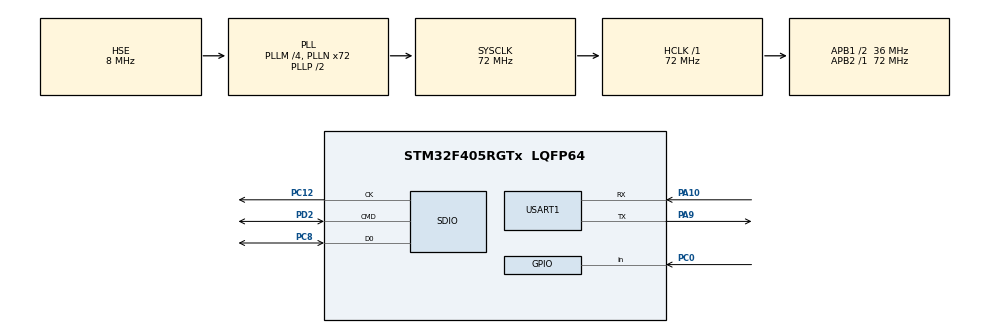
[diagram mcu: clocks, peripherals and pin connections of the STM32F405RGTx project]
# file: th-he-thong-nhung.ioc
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FATFS.BSP.number=1
FATFS0.BSP.STBoard=false
FATFS0.BSP.api=Unknown
FATFS0.BSP.instance=PC0
FATFS0.BSP.ip=GPIO
FATFS0.BSP.mode=Input
FATFS0.BSP.name=Detect_SDIO
FATFS0.BSP.solution=PC0
Mcu.Family=STM32F4
Mcu.Name=STM32F405RGTx
Mcu.Package=LQFP64
NVIC.PriorityGroup=NVIC_PRIORITYGROUP_4
NVIC.SDIO_IRQn=true\:0\:0\:false\:false\:true\:true\:true\:true
PA10.Mode=Asynchronous
PA10.Signal=USART1_RX
PA13.Mode=Serial_Wire
PA13.Signal=SYS_JTMS-SWDIO
PA14.Mode=Serial_Wire
PA14.Signal=SYS_JTCK-SWCLK
PA9.Mode=Asynchronous
PA9.Signal=USART1_TX
PC0.Signal=GPIO_Input
PC12.Mode=SD_1_bit
PC12.Signal=SDIO_CK
PC8.Mode=SD_1_bit
PC8.Signal=SDIO_D0
PD2.Mode=SD_1_bit
PD2.Signal=SDIO_CMD
PH0-OSC_IN.Mode=HSE-External-Oscillator
PH0-OSC_IN.Signal=RCC_OSC_IN
PH1-OSC_OUT.Mode=HSE-External-Oscillator
PH1-OSC_OUT.Signal=RCC_OSC_OUT
ProjectManager.HeapSize=0x200
ProjectManager.StackSize=0x400
ProjectManager.TargetToolchain=STM32CubeIDE
RCC.48MHZClocksFreq_Value=12000000
RCC.AHBFreq_Value=72000000
RCC.APB1CLKDivider=RCC_HCLK_DIV2
RCC.APB1Freq_Value=36000000
RCC.APB1TimFreq_Value=72000000
RCC.APB2Freq_Value=72000000
RCC.APB2TimFreq_Value=72000000
RCC.CortexFreq_Value=72000000
RCC.HCLKFreq_Value=72000000
RCC.HSE_VALUE=8000000
RCC.HSI_VALUE=16000000
RCC.LSE_VALUE=32768
RCC.PLLM=4
RCC.PLLN=72
RCC.PLLQ=12
RCC.PLLSourceVirtual=RCC_PLLSOURCE_HSE
RCC.SYSCLKFreq_VALUE=72000000
RCC.SYSCLKSource=RCC_SYSCLKSOURCE_PLLCLK
RCC.VCOOutputFreq_Value=144000000
USART1.VirtualMode=VM_ASYNC
VP_FATFS_VS_SDIO.Mode=SDIO
board=custom

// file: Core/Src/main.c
/* USER CODE BEGIN Header */
/**
 ******************************************************************************
 * @file           : main.c
 * @brief          : Main program body
 ******************************************************************************
 * @attention
 *
 * Copyright (c) 2023 STMicroelectronics.
 * All rights reserved.
 *
 * This software is licensed under terms that can be found in the LICENSE file
 * in the root directory of this software component.
 * If no LICENSE file comes with this software, it is provided AS-IS.
 *
 ******************************************************************************
 */
/* USER CODE END Header */
#include "main.h"
#include "fatfs.h"
#include "stdio.h"
#include "stdbool.h"
#include "stdint.h"
#include <stdarg.h>     /* va_list, va_start, va_arg, va_end */

/* USER CODE BEGIN PD */
#define BUFF_SIZE_MAX (200)
#define UART_DELAY (100)

/* USER CODE END PD */

SD_HandleTypeDef hsd;

UART_HandleTypeDef huart1;

void SystemClock_Config(void);
static void MX_GPIO_Init(void);
static void MX_SDIO_SD_Init(void);
static void MX_USART1_UART_Init(void);
static void uart_write(const char *format, ...);

/* USER CODE BEGIN 0 */
static void uart_write(const char *format, ...)
{
  uint8_t tx_buffer[BUFF_SIZE_MAX] = {0};
  // Data
  va_list args;
  va_start(args, format);
  uint16_t len = vsnprintf((char *)tx_buffer, BUFF_SIZE_MAX, format, args);
  va_end(args);

  HAL_UART_Transmit(&huart1, tx_buffer, len, UART_DELAY);
}

static void process_sd_card(void)
{
  FATFS FatFs;      // Fatfs handle
  FIL fil;          // File handle
  FRESULT f_result; // Result after operations
  char buf[300];
  do
  {
    if (BSP_SD_Init() != MSD_OK)
    {
      uart_write("\nInit SD card fail\r\n");
      break;
    }

    // Mount the SD Card
    f_result = f_mount(&FatFs, "", 1); // 1=mount now
    if (f_result != FR_OK)
    {
      uart_write("\nNo SD Card found : (%i)\r\n", f_result);
      break;
    }

    uart_write("\nSD Card Mounted Successfully!\r\n");
    HAL_Delay(2000);

    // Read the SD Card Total size and Free Size
    FATFS *pfs;
    DWORD fre_clust;
    uint32_t totalSpace, freeSpace;
    f_getfree("", &fre_clust, &pfs);

    totalSpace = (uint32_t)((pfs->n_fatent - 2) * pfs->csize * 0.5);
    freeSpace = (uint32_t)(fre_clust * pfs->csize * 0.5);

    uart_write("\nTotalSpace : %lu bytes, FreeSpace = %lu bytes\r\n", totalSpace, freeSpace);
    HAL_Delay(2000);

    uart_write("\nOpen file file_htn.txt to write, if it hasn't been created, then create it!\r\n");
    HAL_Delay(2000);

    // Open the file
    f_result = f_open(&fil, "file_htn.txt", FA_CREATE_ALWAYS|FA_WRITE);
    if (f_result != FR_OK)
    {
      uart_write("\nFile creation/open Error : (%i)\r\n", f_result);
      break;
    }

    uart_write("\nWriting data to sd card!\r\n");
    HAL_Delay(2000);

    // write the data
    f_puts("Xin chao, chung minh la sinh vien truong KHTN, khoa Dien tu - Vien thong\n", &fil);
    HAL_Delay(2000);

    // close your file
    f_close(&fil);

    // Open the file
    uart_write("\nOpen file file_htn.txt to read!\r\n");
    HAL_Delay(2000);

    f_result = f_open(&fil, "file_htn.txt", FA_READ);

    if (f_result != FR_OK)
    {
      uart_write("\nFile opening Error : (%i)\r\n", f_result);
      break;
    }

    // read the data
    f_gets(buf, sizeof(buf), &fil);
    uart_write("\nRead Data form sd card : %s\r\n", buf);
    HAL_Delay(2000);
    // close your file
    f_close(&fil);
    uart_write("\nClosing File!\r\n");
#if 0
    //Delete the file.
    f_result = f_unlink(file_he_thong_nhung.txt);
    if (f_result != FR_OK)
    {
      uart_write("\nCannot able to delete the file\n");
    }
#endif
  } while (false);
  // We're done, so de-mount the drive
  f_mount(NULL, "", 0);
  uart_write("\nSD Card Unmounted Successfully!\r\n");
}

/* USER CODE END 0 */

int main(void)
{

  /* MCU Configuration--------------------------------------------------------*/

  /* Reset of all peripherals, Initializes the Flash interface and the Systick. */
  HAL_Init();

  /* Configure the system clock */
  SystemClock_Config();

  /* Initialize all configured peripherals */
  MX_GPIO_Init();
  MX_SDIO_SD_Init();
  MX_FATFS_Init();
  MX_USART1_UART_Init();
  /* USER CODE BEGIN 2 */
  process_sd_card();
  /* USER CODE END 2 */

  /* Infinite loop */
  while (1)
  {

  }
}

void SystemClock_Config(void)
{
  RCC_OscInitTypeDef RCC_OscInitStruct = {0};
  RCC_ClkInitTypeDef RCC_ClkInitStruct = {0};

  /** Configure the main internal regulator output voltage
   */
  __HAL_RCC_PWR_CLK_ENABLE();
  __HAL_PWR_VOLTAGESCALING_CONFIG(PWR_REGULATOR_VOLTAGE_SCALE1);

  /** Initializes the RCC Oscillators according to the specified parameters
   * in the RCC_OscInitTypeDef structure.
   */
  RCC_OscInitStruct.OscillatorType = RCC_OSCILLATORTYPE_HSE;
  RCC_OscInitStruct.HSEState = RCC_HSE_ON;
  RCC_OscInitStruct.PLL.PLLState = RCC_PLL_ON;
  RCC_OscInitStruct.PLL.PLLSource = RCC_PLLSOURCE_HSE;
  RCC_OscInitStruct.PLL.PLLM = 4;
  RCC_OscInitStruct.PLL.PLLN = 72;
  RCC_OscInitStruct.PLL.PLLP = RCC_PLLP_DIV2;
  RCC_OscInitStruct.PLL.PLLQ = 12;
  if (HAL_RCC_OscConfig(&RCC_OscInitStruct) != HAL_OK)
  {
    Error_Handler();
  }

  /** Initializes the CPU, AHB and APB buses clocks
   */
  RCC_ClkInitStruct.ClockType = RCC_CLOCKTYPE_HCLK | RCC_CLOCKTYPE_SYSCLK | RCC_CLOCKTYPE_PCLK1 | RCC_CLOCKTYPE_PCLK2;
  RCC_ClkInitStruct.SYSCLKSource = RCC_SYSCLKSOURCE_PLLCLK;
  RCC_ClkInitStruct.AHBCLKDivider = RCC_SYSCLK_DIV1;
  RCC_ClkInitStruct.APB1CLKDivider = RCC_HCLK_DIV2;
  RCC_ClkInitStruct.APB2CLKDivider = RCC_HCLK_DIV1;

  if (HAL_RCC_ClockConfig(&RCC_ClkInitStruct, FLASH_LATENCY_2) != HAL_OK)
  {
    Error_Handler();
  }
}

static void MX_SDIO_SD_Init(void)
{

  hsd.Instance = SDIO;
  hsd.Init.ClockEdge = SDIO_CLOCK_EDGE_RISING;
  hsd.Init.ClockBypass = SDIO_CLOCK_BYPASS_DISABLE;
  hsd.Init.ClockPowerSave = SDIO_CLOCK_POWER_SAVE_DISABLE;
  hsd.Init.BusWide = SDIO_BUS_WIDE_1B;
  hsd.Init.HardwareFlowControl = SDIO_HARDWARE_FLOW_CONTROL_DISABLE;
  hsd.Init.ClockDiv = 0;
}

static void MX_USART1_UART_Init(void)
{

  huart1.Instance = USART1;
  huart1.Init.BaudRate = 115200;
  huart1.Init.WordLength = UART_WORDLENGTH_8B;
  huart1.Init.StopBits = UART_STOPBITS_1;
  huart1.Init.Parity = UART_PARITY_NONE;
  huart1.Init.Mode = UART_MODE_TX_RX;
  huart1.Init.HwFlowCtl = UART_HWCONTROL_NONE;
  huart1.Init.OverSampling = UART_OVERSAMPLING_16;
  if (HAL_UART_Init(&huart1) != HAL_OK)
  {
    Error_Handler();
  }
}

static void MX_GPIO_Init(void)
{
  GPIO_InitTypeDef GPIO_InitStruct = {0};

  /* GPIO Ports Clock Enable */
  __HAL_RCC_GPIOH_CLK_ENABLE();
  __HAL_RCC_GPIOC_CLK_ENABLE();
  __HAL_RCC_GPIOA_CLK_ENABLE();
  __HAL_RCC_GPIOD_CLK_ENABLE();

  /*Configure GPIO pin : PC0 */
  GPIO_InitStruct.Pin = GPIO_PIN_0;
  GPIO_InitStruct.Mode = GPIO_MODE_INPUT;
  GPIO_InitStruct.Pull = GPIO_NOPULL;
  HAL_GPIO_Init(GPIOC, &GPIO_InitStruct);
}

void Error_Handler(void)
{
  __disable_irq();
  while (1)
  {
  }
}

#ifdef USE_FULL_ASSERT
/**
 * @brief  Reports the name of the source file and the source line number
 *         where the assert_param error has occurred.
 * @param  file: pointer to the source file name
 * @param  line: assert_param error line source number
 * @retval None
 */
void assert_failed(uint8_t *file, uint32_t line)
{
  /* USER CODE BEGIN 6 */
  /* User can add his own implementation to report the file name and line number,
     ex: uart_write("\nWrong parameters value: file %s on line %d\r\n", file, line) */
  /* USER CODE END 6 */
}
#endif /* USE_FULL_ASSERT */
